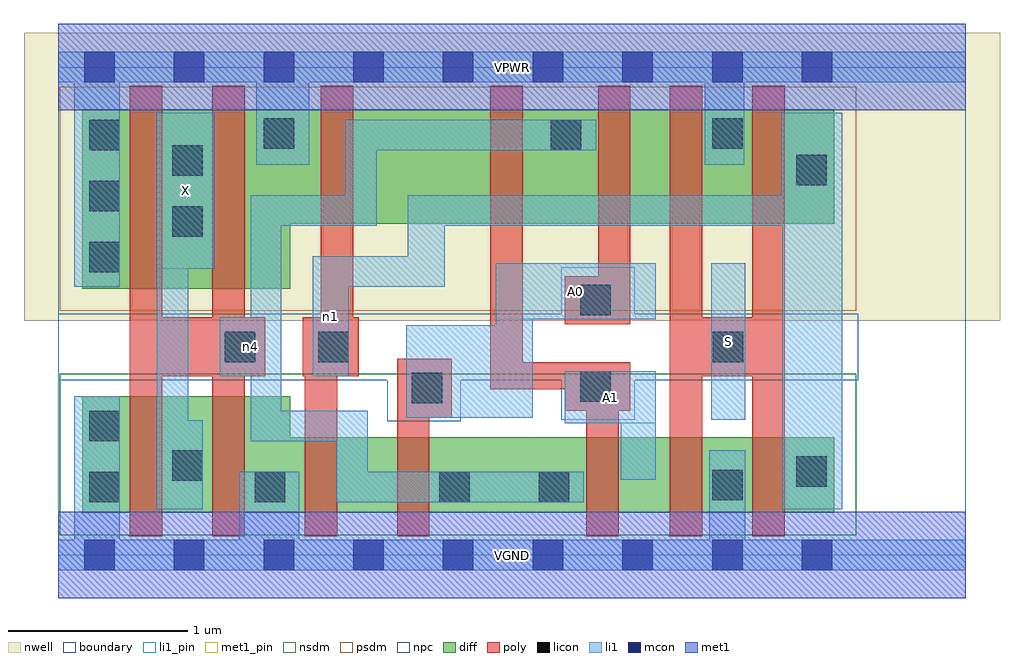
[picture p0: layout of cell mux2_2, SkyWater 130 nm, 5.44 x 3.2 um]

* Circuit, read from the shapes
.subckt mux2_2 A0 A1 S VGND VPWR X n1 n4
XM1 X n4 VGND VSUBS sky130_fd_pr__nfet_01v8 w=0.65 l=0.18 m=2
XM2 n2 n1 VGND VSUBS sky130_fd_pr__nfet_01v8 w=0.42 l=0.18
XM3 n4 A0 n2 VSUBS sky130_fd_pr__nfet_01v8 w=0.42 l=0.18
XM4 n3 A1 n4 VSUBS sky130_fd_pr__nfet_01v8 w=0.42 l=0.18
XM5 VGND S n3 VSUBS sky130_fd_pr__nfet_01v8 w=0.42 l=0.18
XM6 n1 S VGND VSUBS sky130_fd_pr__nfet_01v8 w=0.42 l=0.18
XM7 X n4 VPWR n5 sky130_fd_pr__pfet_01v8 w=1 l=0.18 m=2
XM8 n6 n1 VPWR n5 sky130_fd_pr__pfet_01v8 w=0.64 l=0.18
XM9 n4 A1 n6 n5 sky130_fd_pr__pfet_01v8 w=0.64 l=0.18
XM10 n7 A0 n4 n5 sky130_fd_pr__pfet_01v8 w=0.64 l=0.18
XM11 VPWR S n7 n5 sky130_fd_pr__pfet_01v8 w=0.64 l=0.18
XM12 n1 S VPWR n5 sky130_fd_pr__pfet_01v8 w=0.64 l=0.18
.ends

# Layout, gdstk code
import gdstk
lib = gdstk.Library(unit=1e-6, precision=1e-09)
def R(c, l, rs):  # rectangles x0, y0, x1, y1
    for r in rs: c.add(gdstk.rectangle(r[:2], r[2:], *l))
def A(c, l, x, y, w, h, nx, ny, dx, dy):  # array of equal rectangles
    R(c, l, [(x+i*dx, y+j*dy, x+i*dx+w, y+j*dy+h) for i in range(nx) for j in range(ny)])
nwell = (64, 20)
diff = (65, 20)
poly = (66, 20)
licon = (66, 44)
li1_pin = (67, 16)
li1 = (67, 20)
mcon = (67, 44)
met1_pin = (68, 16)
met1 = (68, 20)
nsdm = (93, 44)
psdm = (94, 20)
npc = (95, 20)
boundary = (235, 4)

mux2_2 = lib.new_cell('mux2_2')
R(mux2_2, nwell, [(-0.19,1.305,5.25,2.91), (0,1.305,5.06,2.91)])
R(mux2_2, diff, [(0.135,0.235,4.325,0.655), (0.135,0.235,1.295,0.885), (0.135,1.485,1.295,2.485), (0.135,1.845,4.325,2.485)])
R(mux2_2, poly, [(0.4,0.105,0.58,2.615), (0.86,0.105,1.04,2.615), (1.375,0.105,1.555,1.325), (1.89,0.105,2.07,1.095), (2.945,0.105,3.125,1.075), (3.41,0.105,3.59,2.615), (3.87,0.105,4.05,2.615), (1.89,0.765,2.195,1.095), (2.825,0.805,3.19,1.075), (2.41,0.925,2.59,2.615), (2.41,0.925,3.19,1.075), (0.4,0.995,1.155,1.325), (1.365,0.995,1.675,1.325), (1.465,0.995,1.645,2.615), (3.41,0.995,4.05,1.325), (2.825,1.285,3.19,1.555), (3.01,1.285,3.19,2.615)])
A(mux2_2, licon, 0.175, 1.575, 0.17, 0.17, 1, 3, 0, 0.34)
R(mux2_2, licon, [(0.175,0.295,0.345,0.465), (1.095,0.295,1.265,0.465), (2.125,0.295,2.295,0.465), (2.68,0.295,2.85,0.465), (3.645,0.305,3.815,0.475), (4.115,0.38,4.285,0.55), (0.635,0.415,0.805,0.585), (0.175,0.635,0.345,0.805), (1.97,0.845,2.14,1.015), (2.91,0.855,3.08,1.025), (0.93,1.075,1.1,1.245), (1.45,1.075,1.62,1.245), (3.65,1.075,3.82,1.245), (2.91,1.335,3.08,1.505), (0.635,1.775,0.805,1.945), (4.115,2.06,4.285,2.23), (0.635,2.115,0.805,2.285), (2.745,2.255,2.915,2.425), (1.145,2.265,1.315,2.435), (3.645,2.265,3.815,2.435)])
R(mux2_2, li1_pin, [(2.825,0.735,3.33,1.025), (3.64,0.755,3.83,1.625), (2.44,1.315,3.33,1.625), (0.55,1.595,0.87,2.465)])
R(mux2_2, li1, [(0,-0.085,5.06,0.085), (0.09,-0.085,0.345,0.885), (1.01,-0.085,1.345,0.465), (3.63,-0.085,3.83,0.585), (0.55,0.255,0.725,2.465), (0.55,0.255,0.805,0.75), (4.035,0.255,4.37,2.465), (1.55,0.295,2.93,0.465), (1.55,0.295,1.725,0.805), (3.135,0.42,3.33,1.025), (1.075,0.635,1.245,2.005), (1.075,0.635,1.725,0.805), (2.825,0.735,3.33,1.025), (3.64,0.755,3.83,1.625), (1.94,0.765,2.645,1.28), (2.44,0.765,2.645,1.625), (0.9,0.995,1.245,1.325), (1.42,0.995,1.62,1.665), (2.44,1.315,3.33,1.625), (0.09,1.495,0.345,2.805), (1.42,1.495,2.155,1.665), (1.95,1.495,2.155,2.005), (0.55,1.595,0.87,2.465), (1.075,1.835,1.775,2.005), (1.6,1.835,1.775,2.425), (1.95,1.835,4.37,2.005), (4.03,1.835,4.37,2.465), (1.105,2.175,1.4,2.805), (3.605,2.175,3.825,2.805), (1.6,2.255,3,2.425), (0,2.635,5.06,2.805)])
A(mux2_2, mcon, 0.145, -0.085, 0.17, 0.17, 9, 2, 0.5, 2.72)
R(mux2_2, met1_pin, [(0,-0.24,5.06,0.24), (0,2.48,5.06,2.96)])
R(mux2_2, met1, [(0,-0.24,5.06,0.24), (0,2.48,5.06,2.96)])
R(mux2_2, nsdm, [(0.01,0.11,4.45,1.01)])
R(mux2_2, psdm, [(0.01,1.36,4.45,2.61)])
R(mux2_2, npc, [(1.835,0.745,2.245,1.345), (2.805,0.755,3.215,1.605), (0,0.975,4.46,1.345)])
R(mux2_2, boundary, [(0,0,5.06,2.72)])
mux2_2.add(gdstk.Label('A0', (2.885,1.47), layer=67, texttype=5))
mux2_2.add(gdstk.Label('A1', (3.077,0.88), layer=67, texttype=5))
mux2_2.add(gdstk.Label('S', (3.735,1.19), layer=67, texttype=5))
mux2_2.add(gdstk.Label('X', (0.71,2.03), layer=67, texttype=5))
mux2_2.add(gdstk.Label('n4', (1.072,1.16), layer=67, texttype=5))
mux2_2.add(gdstk.Label('n1', (1.52,1.33), layer=67, texttype=5))
mux2_2.add(gdstk.Label('VPWR', (2.53,2.72), layer=68, texttype=5))
mux2_2.add(gdstk.Label('VGND', (2.53,0), layer=68, texttype=5))
mux2_2.add(gdstk.Label('A0', (2.885,1.47), layer=67, texttype=16))
mux2_2.add(gdstk.Label('A1', (3.077,0.88), layer=67, texttype=16))
mux2_2.add(gdstk.Label('S', (3.735,1.19), layer=67, texttype=16))
mux2_2.add(gdstk.Label('X', (0.71,2.03), layer=67, texttype=16))
mux2_2.add(gdstk.Label('VPWR', (2.53,2.72), layer=68, texttype=16))
mux2_2.add(gdstk.Label('VGND', (2.53,0), layer=68, texttype=16))

lib.write_gds('mux2_2.gds')
